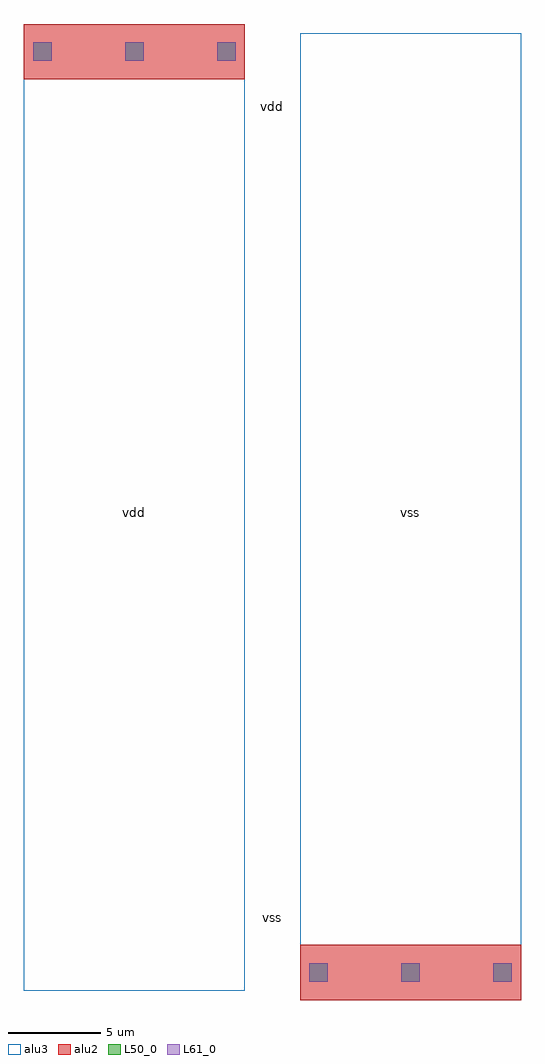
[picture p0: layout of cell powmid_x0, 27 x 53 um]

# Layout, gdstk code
import gdstk
lib = gdstk.Library(unit=1e-6, precision=1e-09)
def R(c, l, rs):  # rectangles x0, y0, x1, y1
    for r in rs: c.add(gdstk.rectangle(r[:2], r[2:], *l))
def A(c, l, x, y, w, h, nx, ny, dx, dy):  # array of equal rectangles
    R(c, l, [(x+i*dx, y+j*dy, x+i*dx+w, y+j*dy+h) for i in range(nx) for j in range(ny)])
L50_0 = (50, 0)
alu2 = (51, 0)
L61_0 = (61, 0)
alu3 = (62, 0)

powmid_x0 = lib.new_cell('powmid_x0')
A(powmid_x0, L50_0, 19.5, -0.5, 1, 1, 3, 1, 5, 0)
A(powmid_x0, L50_0, 4.5, 49.5, 1, 1, 3, 1, 5, 0)
R(powmid_x0, alu2, [(19,-1.5,31,1.5), (19,-1.5,31,1.5), (4,48.5,16,51.5), (4,48.5,16,51.5)])
A(powmid_x0, L61_0, 19.5, -0.5, 1, 1, 3, 1, 5, 0)
A(powmid_x0, L61_0, 4.5, 49.5, 1, 1, 3, 1, 5, 0)
R(powmid_x0, alu3, [(19,-1.5,31,51), (4,-1,16,51.5)])
powmid_x0.add(gdstk.Label('vss', (17.5,3), layer=49, texttype=0))
powmid_x0.add(gdstk.Label('vdd', (17.5,47), layer=49, texttype=0))
powmid_x0.add(gdstk.Label('vdd', (10,25), layer=62, texttype=0))
powmid_x0.add(gdstk.Label('vss', (25,25), layer=62, texttype=0))

lib.write_gds('powmid_x0.gds')
